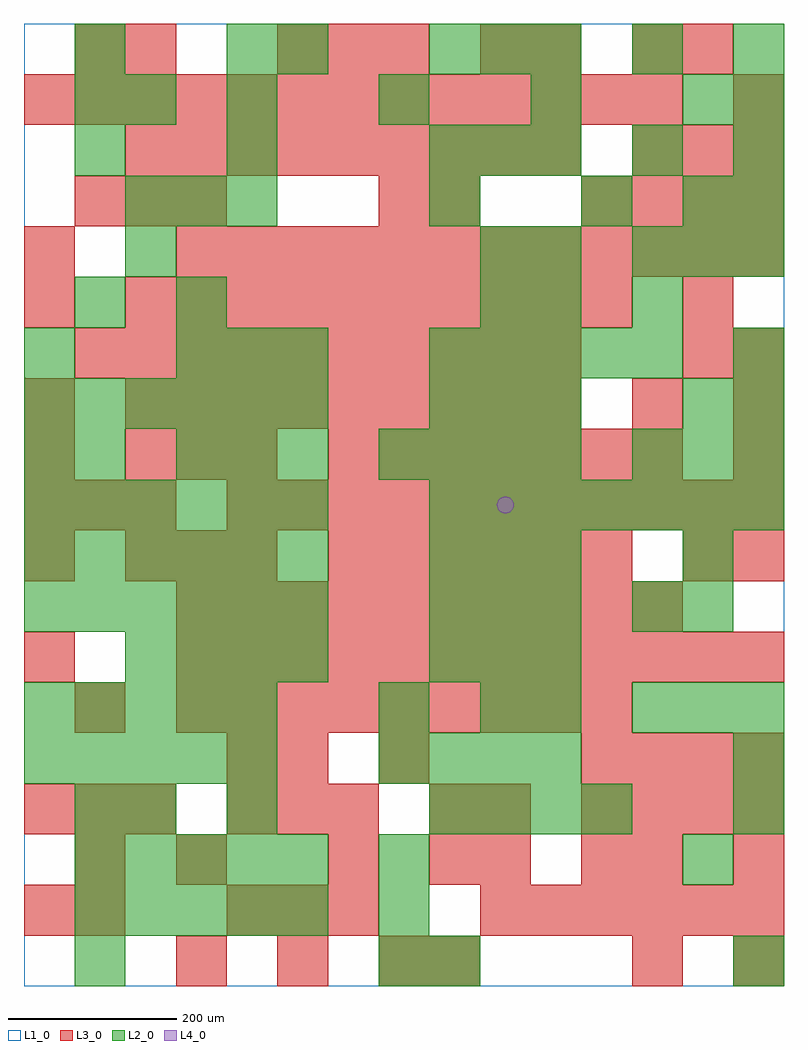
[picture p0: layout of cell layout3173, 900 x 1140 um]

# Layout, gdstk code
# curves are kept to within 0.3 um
import gdstk
lib = gdstk.Library(unit=1e-6, precision=1e-09)
def R(c, l, rs):  # rectangles x0, y0, x1, y1
    for r in rs: c.add(gdstk.rectangle(r[:2], r[2:], *l))
def A(c, l, x, y, w, h, nx, ny, dx, dy):  # array of equal rectangles
    R(c, l, [(x+i*dx, y+j*dy, x+i*dx+w, y+j*dy+h) for i in range(nx) for j in range(ny)])
def P(c, l, *ps):  # polygons
    for p in ps: c.add(gdstk.Polygon(p, *l))
L1_0 = (1, 0)
L2_0 = (2, 0)
L3_0 = (3, 0)
L4_0 = (4, 0)

layout3173 = lib.new_cell('layout3173')
R(layout3173, L1_0, [(0,0,900,1140)])
A(layout3173, L2_0, 420, 0, 60, 60, 1, 3, 0, 60)
A(layout3173, L2_0, 60, 60, 60, 60, 5, 2, 60, 60)
A(layout3173, L2_0, 480, 180, 60, 60, 4, 1, 60, 0)
A(layout3173, L2_0, 0, 240, 60, 60, 5, 2, 60, 60)
A(layout3173, L2_0, 420, 240, 60, 60, 4, 2, 60, 360)
A(layout3173, L2_0, 720, 300, 60, 60, 3, 2, 60, 300)
A(layout3173, L2_0, 120, 360, 60, 60, 4, 1, 60, 0)
A(layout3173, L2_0, 480, 360, 60, 60, 3, 3, 60, 60)
A(layout3173, L2_0, 0, 420, 60, 60, 6, 3, 60, 60)
A(layout3173, L2_0, 480, 540, 60, 60, 7, 1, 60, 0)
A(layout3173, L2_0, 60, 600, 60, 60, 1, 3, 0, 180)
A(layout3173, L2_0, 180, 600, 60, 60, 3, 2, 60, 120)
A(layout3173, L2_0, 0, 660, 60, 60, 6, 1, 60, 0)
A(layout3173, L2_0, 480, 660, 60, 60, 3, 2, 60, 300)
A(layout3173, L2_0, 480, 720, 60, 60, 5, 1, 60, 0)
A(layout3173, L2_0, 720, 840, 60, 60, 3, 1, 60, 0)
A(layout3173, L2_0, 120, 900, 60, 60, 3, 1, 60, 0)
A(layout3173, L2_0, 840, 900, 60, 60, 1, 4, 0, 60)
A(layout3173, L2_0, 240, 1020, 60, 60, 4, 1, 180, 0)
A(layout3173, L2_0, 480, 1080, 60, 60, 3, 1, 60, 0)
R(layout3173, L2_0, [(60,0,120,60), (480,0,540,60), (840,0,900,60), (780,120,840,180), (60,180,120,240), (120,180,180,240), (240,180,300,240), (840,180,900,240), (840,240,900,300), (420,300,480,360), (540,300,600,360), (600,300,660,360), (720,420,780,480), (780,420,840,480), (780,480,840,540), (0,600,60,660), (780,660,840,720), (840,660,900,720), (0,720,60,780), (840,720,900,780), (180,780,240,840), (540,780,600,840), (600,780,660,840), (720,780,780,840), (120,840,180,900), (540,840,600,900), (600,840,660,900), (480,900,540,960), (660,900,720,960), (780,900,840,960), (240,960,300,1020), (720,960,780,1020), (60,1020,120,1080), (120,1020,180,1080), (60,1080,120,1140), (240,1080,300,1140), (300,1080,360,1140), (720,1080,780,1140)])
A(layout3173, L3_0, 180, 0, 60, 60, 3, 1, 120, 0)
A(layout3173, L3_0, 240, 60, 60, 60, 3, 2, 60, 120)
A(layout3173, L3_0, 540, 60, 60, 60, 6, 1, 60, 0)
A(layout3173, L3_0, 0, 180, 60, 60, 3, 2, 60, 360)
A(layout3173, L3_0, 660, 180, 60, 60, 4, 2, 60, 60)
A(layout3173, L3_0, 180, 300, 60, 60, 9, 1, 60, 0)
A(layout3173, L3_0, 0, 360, 60, 60, 1, 3, 0, 120)
A(layout3173, L3_0, 180, 360, 60, 60, 12, 2, 60, 480)
A(layout3173, L3_0, 180, 420, 60, 60, 10, 1, 60, 0)
A(layout3173, L3_0, 120, 480, 60, 60, 3, 2, 60, 120)
A(layout3173, L3_0, 360, 480, 60, 60, 6, 1, 60, 0)
A(layout3173, L3_0, 240, 540, 60, 60, 11, 1, 60, 0)
A(layout3173, L3_0, 360, 600, 60, 60, 7, 1, 60, 0)
A(layout3173, L3_0, 840, 600, 60, 60, 1, 3, 0, 60)
A(layout3173, L3_0, 120, 660, 60, 60, 9, 2, 60, 300)
A(layout3173, L3_0, 60, 720, 60, 60, 10, 1, 60, 0)
A(layout3173, L3_0, 120, 780, 60, 60, 10, 1, 60, 0)
A(layout3173, L3_0, 60, 900, 60, 60, 3, 1, 60, 0)
A(layout3173, L3_0, 660, 900, 60, 60, 4, 1, 60, 0)
A(layout3173, L3_0, 720, 960, 60, 60, 3, 1, 60, 0)
A(layout3173, L3_0, 0, 1020, 60, 60, 13, 1, 60, 0)
A(layout3173, L3_0, 300, 1080, 60, 60, 3, 1, 60, 0)
R(layout3173, L3_0, [(480,0,540,60), (720,0,780,60), (840,0,900,60), (0,60,60,120), (60,60,120,120), (60,120,120,180), (180,120,240,180), (360,120,420,180), (480,120,540,180), (540,120,600,180), (660,120,720,180), (720,120,780,180), (840,120,900,180), (480,180,540,240), (540,180,600,240), (240,240,300,300), (300,240,360,300), (420,240,480,300), (60,300,120,360), (780,480,840,540), (840,480,900,540), (0,660,60,720), (720,660,780,720), (780,720,840,780), (0,780,60,840), (780,780,840,840), (0,840,60,900), (420,900,480,960), (480,900,540,960), (840,1020,900,1080), (60,1080,120,1140), (120,1080,180,1140), (540,1080,600,1140), (600,1080,660,1140), (720,1080,780,1140), (780,1080,840,1140)])
P(layout3173, L4_0, [(580,570),(579.239,573.827),(577.071,577.071),(573.827,579.239),(570,580),(566.173,579.239),(562.929,577.071),(560.761,573.827),(560,570),(560.761,566.173),(562.929,562.929),(566.173,560.761),(570,560),(573.827,560.761),(577.071,562.929),(579.239,566.173)])

lib.write_gds('layout3173.gds')
